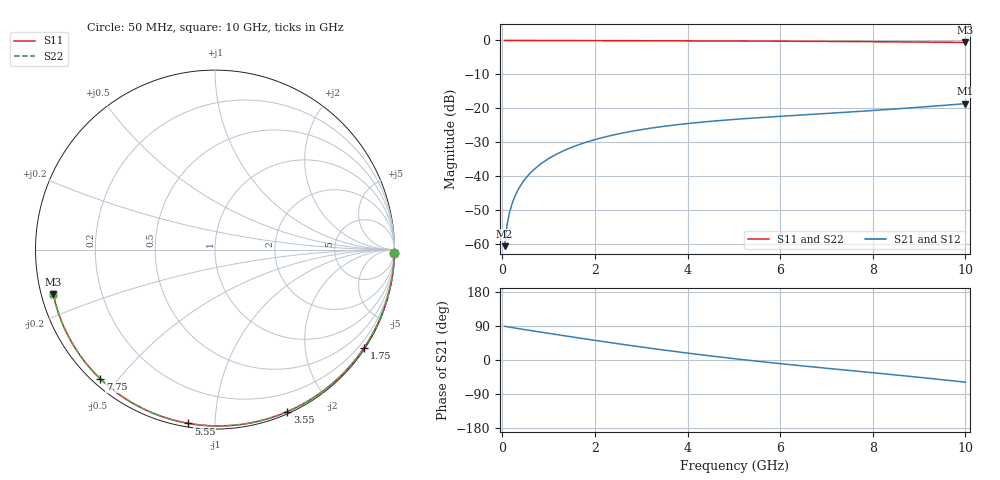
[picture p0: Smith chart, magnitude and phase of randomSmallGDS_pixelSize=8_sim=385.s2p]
! freq	dB(S11)	phase(S11)	dB(S12)	phase(S12)
!  dB(S21)	phase(S21)	dB(S22)	phase(S22)
!S-par simulation data
#  GHz  S  DB  R 50
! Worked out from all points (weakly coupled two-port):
!   200 points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, 50 MHz to 10 GHz, reference 50 ohm
!   highest |S21| = -18.60 dB at 10 GHz (marker M1); lowest = -60.5 dB at 50 MHz (marker M2)
!   lowest |S11| = -0.6 dB at 10 GHz (marker M3), VSWR 29.46, Z = 1.73 - j6.74 ohm
!   |S11| at or under -10 dB: nowhere
!   |S22| runs from -0.6 to 0.0 dB; largest |S21 - S12| = 0
!   S11 on the Smith chart (normalised r, x): 50 MHz: open; 1.75 GHz: 0.03, -3.31; 3.55 GHz: 0.02, -1.54; 5.55 GHz: 0.02, -0.86; 7.75 GHz: 0.02, -0.45; 10 GHz: 0.03, -0.13
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0.05  -0.00 -1.0  -60.54 88.9  -60.54 88.9  -0.00 -1.0
0.1  -0.00 -2.0  -54.53 87.9  -54.53 87.9  -0.00 -2.0
0.15  -0.00 -2.9  -51.02 86.8  -51.02 86.8  -0.00 -2.9
0.2  -0.00 -3.9  -48.53 85.8  -48.53 85.8  -0.00 -3.9
0.25  -0.00 -4.9  -46.61 84.7  -46.61 84.7  -0.00 -4.9
0.35  -0.01 -6.8  -43.71 82.7  -43.71 82.7  -0.01 -6.8
0.5  -0.01 -9.8  -40.66 79.8  -40.66 79.8  -0.01 -9.8
0.7  -0.02 -13.6  -37.79 76.0  -37.79 76.0  -0.02 -13.6
1  -0.03 -19.4  -34.78 70.3  -34.78 70.3  -0.03 -19.4
1.35  -0.04 -26.0  -32.30 63.8  -32.30 63.8  -0.04 -26.1
1.75  -0.05 -33.6  -30.21 56.4  -30.21 56.4  -0.05 -33.6
2.6  -0.07 -49.2  -27.23 41.2  -27.23 41.2  -0.07 -49.2
3.4  -0.10 -63.4  -25.43 27.7  -25.43 27.7  -0.10 -63.4
3.55  -0.10 -66.0  -25.16 25.3  -25.16 25.3  -0.10 -66.0
4.3  -0.13 -78.6  -24.04 13.7  -24.04 13.7  -0.13 -78.7
5.05  -0.16 -90.8  -23.19 2.9  -23.19 2.9  -0.16 -90.9
5.55  -0.18 -98.7  -22.72 -3.8  -22.72 -3.8  -0.18 -98.8
6.7  -0.25 -116.2  -21.74 -18.2  -21.74 -18.2  -0.25 -116.3
7.75  -0.33 -131.6  -20.85 -30.6  -20.85 -30.6  -0.33 -131.7
8.35  -0.39 -140.3  -20.29 -37.7  -20.29 -37.7  -0.39 -140.5
9.2  -0.48 -152.7  -19.45 -48.1  -19.45 -48.1  -0.48 -152.9
10  -0.59 -164.6  -18.60 -58.6  -18.60 -58.6  -0.59 -164.8
